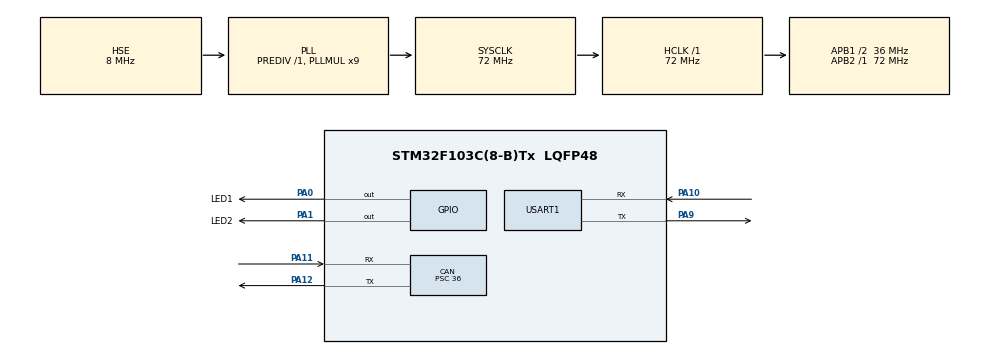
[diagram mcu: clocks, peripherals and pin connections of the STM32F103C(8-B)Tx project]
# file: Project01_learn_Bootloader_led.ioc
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CAN.ABOM=ENABLE
CAN.AWUM=ENABLE
CAN.BS1=CAN_BS1_2TQ
CAN.BS2=CAN_BS2_2TQ
CAN.CalculateBaudRate=200000
CAN.CalculateTimeBit=5000
CAN.CalculateTimeQuantum=1000.0
CAN.Mode=CAN_MODE_NORMAL
CAN.Prescaler=36
Dma.Request0=USART1_RX
Dma.USART1_RX.0.Direction=DMA_PERIPH_TO_MEMORY
Dma.USART1_RX.0.Instance=DMA1_Channel5
Dma.USART1_RX.0.MemDataAlignment=DMA_MDATAALIGN_BYTE
Dma.USART1_RX.0.MemInc=DMA_MINC_ENABLE
Dma.USART1_RX.0.Mode=DMA_CIRCULAR
Dma.USART1_RX.0.PeriphDataAlignment=DMA_PDATAALIGN_BYTE
Dma.USART1_RX.0.PeriphInc=DMA_PINC_DISABLE
Dma.USART1_RX.0.Priority=DMA_PRIORITY_HIGH
Mcu.Family=STM32F1
Mcu.Name=STM32F103C(8-B)Tx
Mcu.Package=LQFP48
NVIC.DMA1_Channel5_IRQn=true\:0\:0\:false\:false\:true\:false\:true\:true
NVIC.PriorityGroup=NVIC_PRIORITYGROUP_4
NVIC.USART1_IRQn=true\:5\:0\:true\:false\:true\:true\:true\:true
PA0-WKUP.GPIO_Label=LED1
PA0-WKUP.PinState=GPIO_PIN_SET
PA0-WKUP.Signal=GPIO_Output
PA1.GPIO_Label=LED2
PA1.PinState=GPIO_PIN_SET
PA1.Signal=GPIO_Output
PA10.Mode=Asynchronous
PA10.Signal=USART1_RX
PA11.Mode=CAN_Activate
PA11.Signal=CAN_RX
PA12.Mode=CAN_Activate
PA12.Signal=CAN_TX
PA13.Mode=Serial_Wire
PA13.Signal=SYS_JTMS-SWDIO
PA14.Mode=Serial_Wire
PA14.Signal=SYS_JTCK-SWCLK
PA9.Mode=Asynchronous
PA9.Signal=USART1_TX
PC14-OSC32_IN.Mode=LSE-External-Oscillator
PC14-OSC32_IN.Signal=RCC_OSC32_IN
PC15-OSC32_OUT.Mode=LSE-External-Oscillator
PC15-OSC32_OUT.Signal=RCC_OSC32_OUT
PD0-OSC_IN.Mode=HSE-External-Oscillator
PD0-OSC_IN.Signal=RCC_OSC_IN
PD1-OSC_OUT.Mode=HSE-External-Oscillator
PD1-OSC_OUT.Signal=RCC_OSC_OUT
ProjectManager.HeapSize=0x200
ProjectManager.StackSize=0x400
ProjectManager.TargetToolchain=MDK-ARM V5.32
RCC.AHBFreq_Value=72000000
RCC.APB1CLKDivider=RCC_HCLK_DIV2
RCC.APB1Freq_Value=36000000
RCC.APB1TimFreq_Value=72000000
RCC.APB2Freq_Value=72000000
RCC.APB2TimFreq_Value=72000000
RCC.HCLKFreq_Value=72000000
RCC.PLLMUL=RCC_PLL_MUL9
RCC.PLLSourceVirtual=RCC_PLLSOURCE_HSE
RCC.SYSCLKFreq_VALUE=72000000
RCC.SYSCLKSource=RCC_SYSCLKSOURCE_PLLCLK
RCC.USBFreq_Value=72000000
USART1.VirtualMode=VM_ASYNC
VP_CRC_VS_CRC.Mode=CRC_Activate
board=custom

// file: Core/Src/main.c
/* USER CODE BEGIN Header */
/**
  ******************************************************************************
  * @file           : main.c
  * @brief          : Main program body
  ******************************************************************************
  * @attention
  *
  * Copyright (c) 2026 STMicroelectronics.
  * All rights reserved.
  *
  * This software is licensed under terms that can be found in the LICENSE file
  * in the root directory of this software component.
  * If no LICENSE file comes with this software, it is provided AS-IS.
  *
  ******************************************************************************
  */
/* USER CODE END Header */
#include "main.h"
#include "can.h"
#include "crc.h"
#include "dma.h"
#include "usart.h"
#include "gpio.h"

/* USER CODE BEGIN Includes */
#include "stm32f1xx_hal.h"
#include "can_buf.h"
#include "can_proto.h"
#include "bsp_soft_spi.h"
#include "bsp_soft_i2c.h"
#include "w25q16.h"
#include "at24c02.h"
#include "ota_storage.h"
#include "app_ota_update.h"
#include <stdio.h>
/* USER CODE END Includes */

/* USER CODE BEGIN PV */
static CAN_Buf_t can_ctx;
static W25Q16_t  w25q_dev;
static AT24C02_t eeprom_dev;
static APP_OTA_t ota_ctx;
/* USER CODE END PV */

void SystemClock_Config(void);

int main(void)
{

  /* MCU Configuration--------------------------------------------------------*/

  /* Reset of all peripherals, Initializes the Flash interface and the Systick. */
  HAL_Init();

  /* Configure the system clock */
  SystemClock_Config();

  /* Initialize all configured peripherals */
  MX_GPIO_Init();
  MX_DMA_Init();
  MX_USART1_UART_Init();
  MX_CAN_Init();
  MX_CRC_Init();
  /* USER CODE BEGIN 2 */
  /* 清除 Bootloader 残留的所有挂起中断，防止 __enable_irq() 触发未初始化的 ISR */
  for (uint32_t i = 0; i < 2; i++) {
      NVIC->ICER[i] = 0xFFFFFFFF;  /* 禁用所有中断通道 */
      NVIC->ICPR[i] = 0xFFFFFFFF;  /* 清除所有挂起标志 */
  }
  __enable_irq();

  HAL_GPIO_WritePin(LED1_GPIO_Port, LED1_Pin, GPIO_PIN_SET);
  HAL_GPIO_WritePin(LED2_GPIO_Port, LED2_Pin, GPIO_PIN_SET);

  printf("[APP] main() reached, all MX_Init done\r\n");

  /* CAN 初始化 */
  CAN_Buf_Init(&can_ctx, &hcan);
  printf("[APP] CAN_Buf_Init done\r\n");

  /* 存储外设初始化 */
  BSP_SoftSPI_Init();
  BSP_SoftI2C_Init();
  W25Q16_Init(&w25q_dev, &spi1_bus, W25Q_CS_PORT, W25Q_CS_PIN);
  AT24C02_Init(&eeprom_dev, &i2c1_bus, AT24C02_ADDR);
  printf("[APP] W25Q16 + AT24C02 init done\r\n");

  /* 读取 W25Q16 JEDEC ID 验证硬件连接 */
  uint32_t jedec_id = W25Q16_ReadJEDECID(&w25q_dev);
  printf("[APP] W25Q16 JEDEC ID: 0x%06lX\r\n", jedec_id);

  /* OTA 模块初始化 */
  APP_OTA_Init(&ota_ctx, &can_ctx, &w25q_dev, &eeprom_dev);
  printf("[APP] OTA module init done\r\n");
  /* USER CODE END 2 */

  /* Infinite loop */
  while (1)
  {

    /* USER CODE BEGIN 3 */
    HAL_GPIO_TogglePin(LED1_GPIO_Port, LED1_Pin);
    APP_OTA_Process(&ota_ctx);
  }
  /* USER CODE END 3 */
}

void SystemClock_Config(void)
{
  RCC_OscInitTypeDef RCC_OscInitStruct = {0};
  RCC_ClkInitTypeDef RCC_ClkInitStruct = {0};

  /** Initializes the RCC Oscillators according to the specified parameters
  * in the RCC_OscInitTypeDef structure.
  */
  RCC_OscInitStruct.OscillatorType = RCC_OSCILLATORTYPE_HSE;
  RCC_OscInitStruct.HSEState = RCC_HSE_ON;
  RCC_OscInitStruct.HSEPredivValue = RCC_HSE_PREDIV_DIV1;
  RCC_OscInitStruct.HSIState = RCC_HSI_ON;
  RCC_OscInitStruct.PLL.PLLState = RCC_PLL_ON;
  RCC_OscInitStruct.PLL.PLLSource = RCC_PLLSOURCE_HSE;
  RCC_OscInitStruct.PLL.PLLMUL = RCC_PLL_MUL9;
  if (HAL_RCC_OscConfig(&RCC_OscInitStruct) != HAL_OK)
  {
    Error_Handler();
  }

  /** Initializes the CPU, AHB and APB buses clocks
  */
  RCC_ClkInitStruct.ClockType = RCC_CLOCKTYPE_HCLK|RCC_CLOCKTYPE_SYSCLK
                              |RCC_CLOCKTYPE_PCLK1|RCC_CLOCKTYPE_PCLK2;
  RCC_ClkInitStruct.SYSCLKSource = RCC_SYSCLKSOURCE_PLLCLK;
  RCC_ClkInitStruct.AHBCLKDivider = RCC_SYSCLK_DIV1;
  RCC_ClkInitStruct.APB1CLKDivider = RCC_HCLK_DIV2;
  RCC_ClkInitStruct.APB2CLKDivider = RCC_HCLK_DIV1;

  if (HAL_RCC_ClockConfig(&RCC_ClkInitStruct, FLASH_LATENCY_2) != HAL_OK)
  {
    Error_Handler();
  }
}

void Error_Handler(void)
{
  /* USER CODE BEGIN Error_Handler_Debug */
  /* User can add his own implementation to report the HAL error return state */
  __disable_irq();
  while (1)
  {
      HAL_GPIO_TogglePin(LED1_GPIO_Port, LED1_Pin);
      for (volatile uint32_t i = 0; i < 200000; i++);
  }
  /* USER CODE END Error_Handler_Debug */
}
